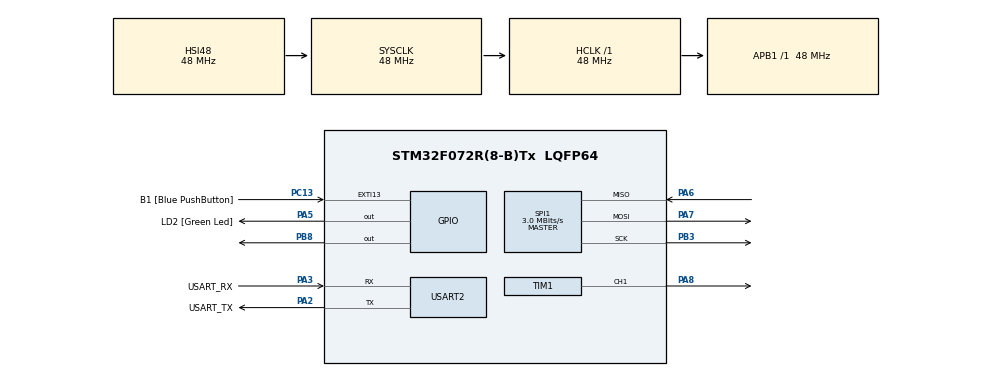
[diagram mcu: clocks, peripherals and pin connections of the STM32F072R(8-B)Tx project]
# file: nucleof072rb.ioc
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Mcu.Family=STM32F0
Mcu.Name=STM32F072R(8-B)Tx
Mcu.Package=LQFP64
PA13.GPIO_Label=TMS
PA13.Mode=Serial_Wire
PA13.Signal=SYS_SWDIO
PA14.GPIO_Label=TCK
PA14.Mode=Serial_Wire
PA14.Signal=SYS_SWCLK
PA2.GPIO_Label=USART_TX
PA2.GPIO_Mode=GPIO_MODE_AF_PP
PA2.GPIO_PuPd=GPIO_NOPULL
PA2.GPIO_Speed=GPIO_SPEED_FREQ_LOW
PA2.Mode=Asynchronous
PA2.Signal=USART2_TX
PA3.GPIO_Label=USART_RX
PA3.GPIO_Mode=GPIO_MODE_AF_PP
PA3.GPIO_PuPd=GPIO_NOPULL
PA3.GPIO_Speed=GPIO_SPEED_FREQ_LOW
PA3.Mode=Asynchronous
PA3.Signal=USART2_RX
PA5.GPIO_Label=LD2 [Green Led]
PA5.GPIO_Mode=GPIO_MODE_OUTPUT_PP
PA5.GPIO_PuPd=GPIO_NOPULL
PA5.GPIO_Speed=GPIO_SPEED_FREQ_LOW
PA5.Signal=GPIO_Output
PA6.Mode=Full_Duplex_Master
PA6.Signal=SPI1_MISO
PA7.Mode=Full_Duplex_Master
PA7.Signal=SPI1_MOSI
PA8.Signal=S_TIM1_CH1
PB3.Mode=Full_Duplex_Master
PB3.Signal=SPI1_SCK
PB8.Signal=GPIO_Output
PC13.GPIO_Label=B1 [Blue PushButton]
PC13.GPIO_ModeDefaultEXTI=GPIO_MODE_IT_FALLING
PC13.Signal=GPXTI13
PC14-OSC32_IN.Mode=LSE-External-Oscillator
PC14-OSC32_IN.Signal=RCC_OSC32_IN
PC15-OSC32_OUT.Mode=LSE-External-Oscillator
PC15-OSC32_OUT.Signal=RCC_OSC32_OUT
PF0-OSC_IN.Mode=HSE-External-Clock-Source
PF0-OSC_IN.Signal=RCC_OSC_IN
PF1-OSC_OUT.Signal=RCC_OSC_OUT
ProjectManager.HeapSize=0x200
ProjectManager.StackSize=0x400
ProjectManager.TargetToolchain=STM32CubeIDE
RCC.AHBFreq_Value=48000000
RCC.APB1Freq_Value=48000000
RCC.APB1TimFreq_Value=48000000
RCC.FLatency-AdvancedSettings=FLASH_LATENCY_1
RCC.HCLKFreq_Value=48000000
RCC.PLLDivider=RCC_PREDIV_DIV2
RCC.PLLMUL=RCC_PLL_MUL12
RCC.PREFETCH_ENABLE-AdvancedSettings=1
RCC.SYSCLKFreq_VALUE=48000000
RCC.SYSCLKSource=RCC_SYSCLKSOURCE_HSI48
SH.S_TIM1_CH1.0=TIM1_CH1,PWM Generation1 CH1
SPI1.BaudRatePrescaler=SPI_BAUDRATEPRESCALER_16
SPI1.CalculateBaudRate=3.0 MBits/s
SPI1.DataSize=SPI_DATASIZE_8BIT
SPI1.Direction=SPI_DIRECTION_2LINES
SPI1.Mode=SPI_MODE_MASTER
SPI1.VirtualType=VM_MASTER
TIM1.AutoReloadPreload=TIM_AUTORELOAD_PRELOAD_DISABLE
TIM1.Channel-PWM\ Generation1\ CH1=TIM_CHANNEL_1
TIM1.Period=63999
TIM1.Prescaler=14
USART2.VirtualMode=VM_ASYNC
USART2.VirtualMode-Asynchronous=VM_ASYNC
VP_TIM1_VS_ClockSourceINT.Mode=Internal
board=NUCLEO-F072RB

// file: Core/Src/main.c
/* USER CODE BEGIN Header */
/**
  ******************************************************************************
  * @file           : main.c
  * @brief          : Main program body
  ******************************************************************************
  * @attention
  *
  * <h2><center>&copy; Copyright (c) 2021 STMicroelectronics.
  * All rights reserved.</center></h2>
  *
  * This software component is licensed by ST under BSD 3-Clause license,
  * the "License"; You may not use this file except in compliance with the
  * License. You may obtain a copy of the License at:
  *                        opensource.org/licenses/BSD-3-Clause
  *
  ******************************************************************************
  */
/* USER CODE END Header */
#include "main.h"
#include "spi.h"
#include "tim.h"
#include "usart.h"
#include "gpio.h"

/* USER CODE BEGIN PD */
#define SPI_DATA_LEN 3U
#define MIN_TICKS 3200U
#define ADC_MAX_VALUE 1023U
#define ADC_RANGE_TICKS 3200U
/* USER CODE END PD */

void SystemClock_Config(void);

int main(void)
{

  /* MCU Configuration--------------------------------------------------------*/

  /* Reset of all peripherals, Initializes the Flash interface and the Systick. */
  HAL_Init();

  /* Configure the system clock */
  SystemClock_Config();

  /* Initialize all configured peripherals */
  MX_GPIO_Init();
  MX_USART2_UART_Init();
  MX_SPI1_Init();
  MX_TIM1_Init();
  /* USER CODE BEGIN 2 */
  HAL_TIM_PWM_Start(&htim1, TIM_CHANNEL_1);
  uint8_t tx_data[3] = {0x01, 0x80, 0x00}; // Contains the start byte, Check measure channel 1 byte, and dummy byte
  uint8_t rx_data[3]= {0,0,0};
  /* USER CODE END 2 */

  /* Infinite loop */
  while (1)
  {

    /* USER CODE BEGIN 3 */

	  HAL_GPIO_WritePin(GPIOB, GPIO_PIN_8,GPIO_PIN_RESET); //Pulling CS low

	  HAL_StatusTypeDef status = HAL_SPI_TransmitReceive(&hspi1, tx_data, rx_data, SPI_DATA_LEN, HAL_MAX_DELAY);
	  if (status != HAL_OK) {
		  printf("SPI error! = %d", status);
		  Error_Handler();
	  }
	  HAL_GPIO_WritePin(GPIOB, GPIO_PIN_8, GPIO_PIN_SET); // Pulling CS high

	  uint16_t adc_val = ((rx_data[1]&0x03) << 8) | rx_data[2]; //10 bit data stored in 16 bits

	  uint16_t pulse_ticks = MIN_TICKS + ((adc_val*ADC_RANGE_TICKS)/ADC_MAX_VALUE);

	  __HAL_TIM_SET_COMPARE(&htim1, TIM_CHANNEL_1,pulse_ticks); // Setting the CCR

	  HAL_Delay(10);

  }
  /* USER CODE END 3 */
}

void SystemClock_Config(void)
{
  RCC_OscInitTypeDef RCC_OscInitStruct = {0};
  RCC_ClkInitTypeDef RCC_ClkInitStruct = {0};
  RCC_PeriphCLKInitTypeDef PeriphClkInit = {0};

  /** Initializes the RCC Oscillators according to the specified parameters
  * in the RCC_OscInitTypeDef structure.
  */
  RCC_OscInitStruct.OscillatorType = RCC_OSCILLATORTYPE_HSI48;
  RCC_OscInitStruct.HSI48State = RCC_HSI48_ON;
  RCC_OscInitStruct.PLL.PLLState = RCC_PLL_NONE;
  if (HAL_RCC_OscConfig(&RCC_OscInitStruct) != HAL_OK)
  {
    Error_Handler();
  }
  /** Initializes the CPU, AHB and APB buses clocks
  */
  RCC_ClkInitStruct.ClockType = RCC_CLOCKTYPE_HCLK|RCC_CLOCKTYPE_SYSCLK
                              |RCC_CLOCKTYPE_PCLK1;
  RCC_ClkInitStruct.SYSCLKSource = RCC_SYSCLKSOURCE_HSI48;
  RCC_ClkInitStruct.AHBCLKDivider = RCC_SYSCLK_DIV1;
  RCC_ClkInitStruct.APB1CLKDivider = RCC_HCLK_DIV1;

  if (HAL_RCC_ClockConfig(&RCC_ClkInitStruct, FLASH_LATENCY_1) != HAL_OK)
  {
    Error_Handler();
  }
  PeriphClkInit.PeriphClockSelection = RCC_PERIPHCLK_USART2;
  PeriphClkInit.Usart2ClockSelection = RCC_USART2CLKSOURCE_PCLK1;
  if (HAL_RCCEx_PeriphCLKConfig(&PeriphClkInit) != HAL_OK)
  {
    Error_Handler();
  }
}

void Error_Handler(void)
{
  __disable_irq();
  while (1)
  {
  }
}

/************************ (C) COPYRIGHT STMicroelectronics *****END OF FILE****/
